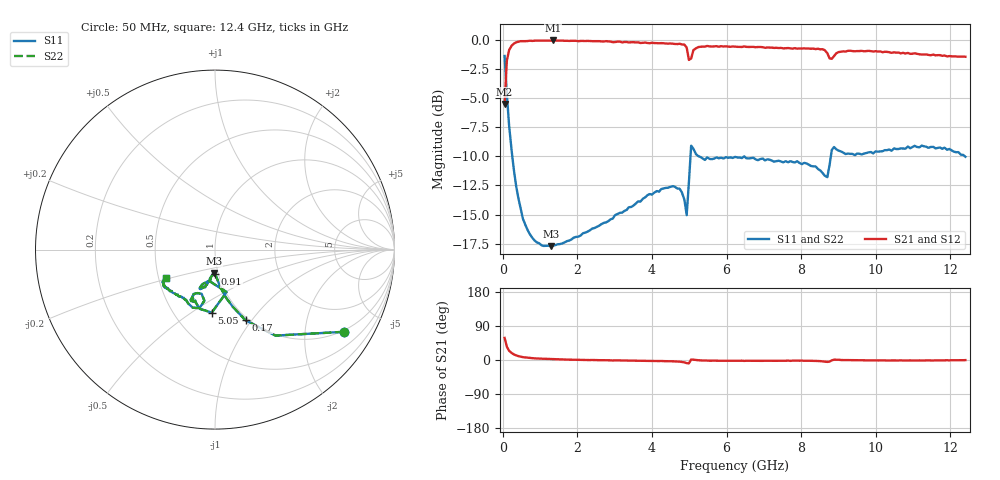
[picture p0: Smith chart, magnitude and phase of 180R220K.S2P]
!  American Technical Ceramics  Date:  3/13/98
!  One Norden Lane
!  Huntington Station,  NY.  11746-2102
!  Tel:  (516) 547-5700  Fax:  (516) 547-5748
!  Part Number  180r220k
!  Description: Porcelain, High Q, Low ESR
!  Application: Bypass, Coupling, Timing, Feedback
!  Tuning, Impedance Match, Blocking
# GHZ S DB R 50
! Freq  |S11|  S11 Ph  |S21|  S21 Ph  |S12|  S12 Ph  |S22|  S22 Ph
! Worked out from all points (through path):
!   201 points, 50 MHz to 12.4 GHz, reference 50 ohm
!   highest |S21| = -0.06 dB at 1.35 GHz (marker M1); lowest = -5.5 dB at 50 MHz (marker M2)
!   group delay of S21, straight-line fit = 1.75 ps
!   lowest |S11| = -17.7 dB at 1.29 GHz (marker M3), VSWR 1.30, Z = 47.8 - j12.6 ohm
!   |S11| at or under -10 dB: 256 MHz to 5.032 GHz (4.776 GHz wide, 181 % of centre); 5.255 GHz to 8.794 GHz (3.539 GHz wide, 50.4 % of centre); 12.385 GHz to end of sweep
!   |S22| runs from -17.7 to -1.4 dB; largest |S21 - S12| = 0
!   S11 on the Smith chart (normalised r, x): 50 MHz: 0.95, -3.17; 170 MHz: 0.97, -0.93; 910 MHz: 0.96, -0.27; 5.05 GHz: 0.76, -0.61; 12.4 GHz: 0.55, -0.19
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0.05  -1.39 -32.5  -5.52 58.3  -5.52 58.3  -1.39 -32.5
0.11  -4.65 -54.9  -1.80 35.1  -1.80 35.1  -4.65 -54.9
0.17  -7.35 -66.7  -0.89 24.3  -0.89 24.3  -7.35 -66.7
0.36  -12.57 -79.8  -0.22 12.2  -0.22 12.2  -12.57 -79.8
0.54  -15.35 -85.0  -0.12 7.5  -0.12 7.5  -15.35 -85.0
0.91  -17.38 -89.8  -0.08 4.2  -0.08 4.2  -17.38 -89.8
1.29  -17.71 -92.6  -0.08 2.3  -0.08 2.3  -17.71 -92.6
1.35  -17.66 -93.3  -0.06 2.1  -0.06 2.1  -17.66 -93.3
2.15  -16.60 -96.6  -0.10 0.3  -0.10 0.3  -16.60 -96.6
4.19  -13.03 -108.7  -0.30 -2.8  -0.30 -2.8  -13.03 -108.7
4.74  -12.78 -111.3  -0.34 -4.4  -0.34 -4.4  -12.78 -111.3
4.93  -15.05 -101.0  -0.67 -8.3  -0.67 -8.3  -15.05 -101.0
4.99  -12.20 -74.8  -1.73 -8.8  -1.73 -8.8  -12.20 -74.8
5.05  -9.09 -92.9  -1.61 1.2  -1.61 1.2  -9.09 -92.9
5.24  -9.98 -109.1  -0.63 -0.6  -0.63 -0.6  -9.98 -109.1
6.23  -10.05 -114.0  -0.59 -2.2  -0.59 -2.2  -10.05 -114.0
8.32  -10.86 -115.4  -0.76 -2.2  -0.76 -2.2  -10.86 -115.4
8.7  -11.79 -106.9  -1.15 -5.0  -1.15 -5.0  -11.79 -106.9
8.76  -10.73 -101.8  -1.60 -4.3  -1.60 -4.3  -10.73 -101.8
8.88  -9.20 -110.9  -1.39 0.8  -1.39 0.8  -9.20 -110.9
10.36  -9.42 -136.0  -1.07 -1.2  -1.07 -1.2  -9.42 -136.0
12.4  -10.04 -150.2  -1.46 -0.3  -1.46 -0.3  -10.04 -150.2
